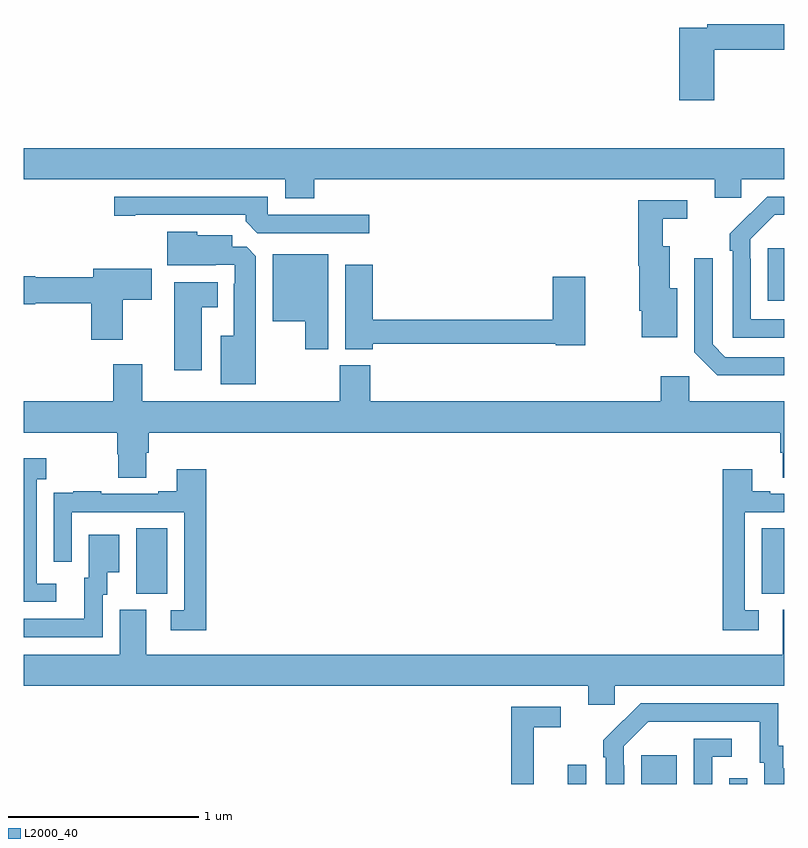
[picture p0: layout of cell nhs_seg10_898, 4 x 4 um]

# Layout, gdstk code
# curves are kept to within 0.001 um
import gdstk
lib = gdstk.Library(unit=1e-6, precision=1e-09)
def R(c, l, rs):  # rectangles x0, y0, x1, y1
    for r in rs: c.add(gdstk.rectangle(r[:2], r[2:], *l))
def P(c, l, *ps):  # polygons
    for p in ps: c.add(gdstk.Polygon(p, *l))
L2000_40 = (2000, 40)

nhs_seg10_898 = lib.new_cell('nhs_seg10_898')
R(nhs_seg10_898, L2000_40, [(159.861,1266.5,159.957,1266.601), (160.247,1266.5,160.435,1266.652), (160.71,1266.5,160.806,1266.529), (157.592,1267.501,157.756,1267.844), (160.88,1267.501,161,1267.844), (160.913,1269.041,161,1269.316)])
P(nhs_seg10_898, L2000_40, [(160.631,1270.36),(161,1270.36),(161,1270.496),(160.594,1270.496),(160.594,1270.476),(160.448,1270.476),(160.448,1270.095),(160.631,1270.095)],
  [(158.528,1269.68),(160.634,1269.68),(160.634,1269.582),(160.773,1269.582),(160.773,1269.68),(161,1269.68),(161,1269.844),(157,1269.844),(157,1269.68),(158.375,1269.68),(158.375,1269.581),(158.528,1269.581)],
  [(158.818,1269.492),(158.283,1269.492),(158.283,1269.588),(157.476,1269.588),(157.476,1269.487),(157.588,1269.487),(157.588,1269.492),(158.168,1269.492),(158.168,1269.458),(158.229,1269.396),(158.818,1269.396)],
  [(161,1268.943),(160.824,1268.943),(160.824,1269.263),(160.821,1269.263),(160.821,1269.363),(160.95,1269.492),(161,1269.492),(161,1269.588),(160.91,1269.588),(160.713,1269.393),(160.713,1269.305),(160.728,1269.305),(160.728,1268.847),(161,1268.847)],
  [(160.438,1269.106),(160.396,1269.106),(160.396,1269.328),(160.36,1269.328),(160.36,1269.473),(160.489,1269.473),(160.489,1269.57),(160.231,1269.57),(160.231,1269.224),(160.238,1269.224),(160.238,1268.988),(160.25,1268.988),(160.25,1268.849),(160.438,1268.849)],
  [(158.221,1269.275),(158.172,1269.324),(158.098,1269.324),(158.098,1269.385),(157.914,1269.385),(157.914,1269.403),(157.754,1269.403),(157.754,1269.227),(158.009,1269.227),(158.009,1269.231),(158.109,1269.231),(158.109,1269.131),(158.105,1269.131),(158.105,1268.857),(158.036,1268.857),(158.036,1268.603),(158.221,1268.603)],
  [(158.602,1269.286),(158.309,1269.286),(158.309,1268.933),(158.48,1268.933),(158.48,1268.787),(158.602,1268.787)],
  [(161,1268.745),(160.689,1268.745),(160.623,1268.811),(160.623,1269.265),(160.527,1269.265),(160.527,1268.769),(160.648,1268.648),(161,1268.648)],
  [(158.837,1268.814),(159.798,1268.814),(159.798,1268.806),(159.952,1268.806),(159.952,1269.166),(159.782,1269.166),(159.782,1268.942),(158.837,1268.942),(158.837,1269.229),(158.69,1269.229),(158.69,1268.786),(158.837,1268.786)],
  [(157.522,1269.046),(157.675,1269.046),(157.675,1269.208),(157.367,1269.208),(157.367,1269.164),(157.062,1269.164),(157.062,1269.17),(157,1269.17),(157,1269.023),(157.062,1269.023),(157.062,1269.028),(157.355,1269.028),(157.355,1268.835),(157.522,1268.835)],
  [(157.936,1269.008),(158.02,1269.008),(158.02,1269.139),(157.793,1269.139),(157.793,1268.676),(157.936,1268.676)],
  [(157.645,1268.242),(157.658,1268.242),(157.658,1268.348),(160.979,1268.348),(160.979,1268.242),(160.991,1268.242),(160.991,1268.11),(161,1268.11),(161,1268.512),(160.5,1268.512),(160.5,1268.644),(160.349,1268.644),(160.349,1268.512),(158.822,1268.512),(158.822,1268.701),(158.662,1268.701),(158.662,1268.512),(157.624,1268.512),(157.624,1268.707),(157.472,1268.707),(157.472,1268.512),(157,1268.512),(157,1268.348),(157.493,1268.348),(157.493,1268.235),(157.498,1268.235),(157.498,1268.11),(157.645,1268.11)],
  [(157.171,1267.554),(157.068,1267.554),(157.068,1268.102),(157.12,1268.102),(157.12,1268.212),(157,1268.212),(157,1267.458),(157.171,1267.458)],
  [(157.961,1268.155),(157.805,1268.155),(157.805,1268.038),(157.709,1268.038),(157.709,1268.025),(157.409,1268.025),(157.409,1268.038),(157.261,1268.038),(157.261,1268.031),(157.159,1268.031),(157.159,1267.922),(157.158,1267.922),(157.158,1267.668),(157.254,1267.668),(157.254,1267.929),(157.845,1267.929),(157.845,1267.413),(157.773,1267.413),(157.773,1267.308),(157.961,1267.308)],
  [(160.864,1267.413),(160.791,1267.413),(160.791,1267.929),(161,1267.929),(161,1268.025),(160.927,1268.025),(160.927,1268.038),(160.831,1268.038),(160.831,1268.155),(160.675,1268.155),(160.675,1267.308),(160.864,1267.308)],
  [(157.416,1267.494),(157.441,1267.494),(157.441,1267.613),(157.504,1267.613),(157.504,1267.81),(157.343,1267.81),(157.343,1267.584),(157.319,1267.584),(157.319,1267.368),(157,1267.368),(157,1267.272),(157.416,1267.272)],
  [(160.107,1267.016),(161,1267.016),(161,1267.416),(160.991,1267.416),(160.991,1267.18),(157.645,1267.18),(157.645,1267.416),(157.505,1267.416),(157.505,1267.18),(157,1267.18),(157,1267.016),(159.968,1267.016),(159.968,1266.918),(160.107,1266.918)],
  [(160.158,1266.599),(160.155,1266.599),(160.155,1266.699),(160.284,1266.828),(160.871,1266.828),(160.871,1266.612),(160.895,1266.612),(160.895,1266.5),(161,1266.5),(161,1266.583),(160.993,1266.583),(160.993,1266.702),(160.968,1266.702),(160.968,1266.924),(160.244,1266.924),(160.047,1266.729),(160.047,1266.641),(160.062,1266.641),(160.062,1266.5),(160.158,1266.5)],
  [(159.683,1266.798),(159.823,1266.798),(159.823,1266.906),(159.565,1266.906),(159.565,1266.5),(159.683,1266.5)],
  [(160.62,1266.642),(160.723,1266.642),(160.723,1266.738),(160.524,1266.738),(160.524,1266.5),(160.62,1266.5)])

lib.write_gds('nhs_seg10_898.gds')
